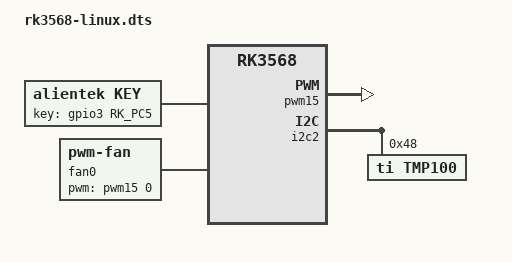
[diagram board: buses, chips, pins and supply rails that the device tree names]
 * Copyright (c) 2020 Rockchip Electronics Co., Ltd.
 *
 */


#include "rk3568-linux.dtsi"


/ {
    chosen: chosen {
	bootargs = "earlycon=uart8250,mmio32,0xfe660000 console=ttyFIQ0 root=PARTUUID=614e0000-0000 rw rootwait";
    };

	rk3568_led {
		compatible = "atkrk3568-led";
		status = ok;
		reg = <>;
	};

	key {
		compatible = "alientek,key";
		pincrtl-0 = <&key_gpio>;
		pinctrl-names = "default";
		key-gpio = <&gpio3 RK_PC5 GPIO_ACTIVE_HIGH>;
		status = "okay";
	}

	fan0: pwm-fan {
		status = "okay";
		compatible = "pwm-fan";
		cooling-min-state = <0>;
		cooling-max-state = <24>;
		#cooling-cells = <2>;
		pwms = <&pwm15 0 40000 0>; // 25kHz
		cooling-levels = <
			0 10 15 20 25 30 35 40 45 50 55 
			60 65 70 75 80 85 90 95 100 
			105 110 115 120 125
		>;
	};
}

&pwm15 {
	status = "okay";
};

&i2c2 {
	status = "okay";
	pinctrl-names = "default";
	pinctrl-0 = <&i2c2m0_xfer>;

	tmp100: temperature-sensor@48 {
		status = "okay";
		compatible = "ti,tmp100";
		reg = <0x48>;           /* TMP100 的 I2C 地址 */
		#thermal-sensor-cells = <1>;
    };
};

&thermal_zones {
	board_thermal {
		polling-delay-passive = <20>; /* milliseconds */
		polling-delay = <1000>; /* milliseconds */
		// policy = "step_wise";

		thermal-sensors = <&tmp100 0>;   // 使用 TMP100 传感器

		trips {
			tmp100_fan: trip0 {
				temperature = <40000>; // 45°C 开启风扇
				hysteresis = <1000>;   // 43°C 关
				type = "active";
			};
		};

		cooling-maps {
			map0 {
				trip = <&tmp100_fan>;
				cooling-device = <&fan0 THERMAL_NO_LIMIT THERMAL_NO_LIMIT>;
			};
		};

	};
};

&pinctrl {
	key-gpios {
		key_gpio: key-pin {
			rockchip,pins = 
				<3 RK_PC5 RK_FUNC_GPIO &pcfg_pull_none>;
		};
	};
};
